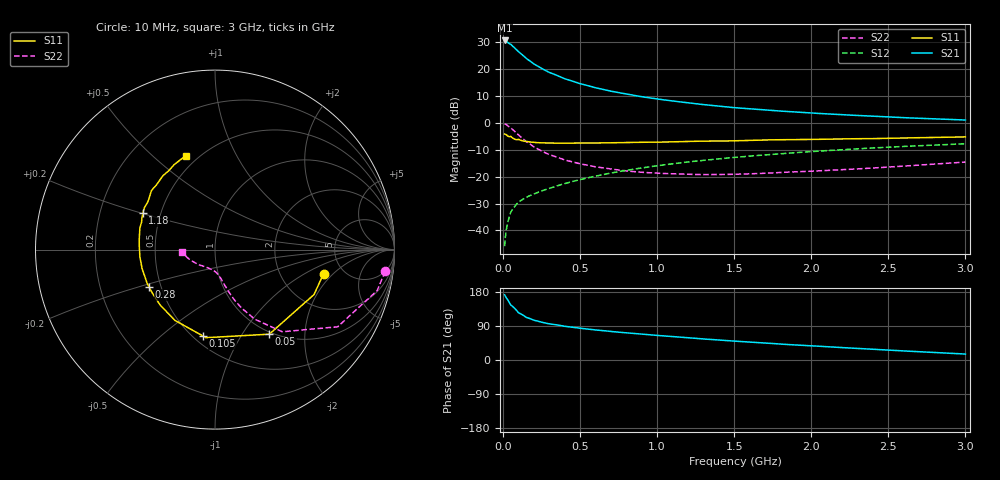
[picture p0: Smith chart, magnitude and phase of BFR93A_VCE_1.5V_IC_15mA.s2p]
! Infineon Technologies  Discrete & RF Semiconductors
! BFR93A
! VCE =  1.5 V,  IC =  15 mA
! Common Emitter S-Parameters:  Nov 2015
# GHz  S  MA  R  50
!  f  S11  S21  S12  S22
! GHz  MAG  ANG  MAG  ANG  MAG  ANG  MAG  ANG
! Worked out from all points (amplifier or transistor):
!   180 points, 10 MHz to 3 GHz, reference 50 ohm
!   highest |S21| = 30.6 dB at 10 MHz (marker M1)
!   |S21| within 3 dB of that: start of sweep to 78.12 MHz
!   unconditionally stable (mu >= 1): 450.9 MHz to end of sweep
!   at 160 MHz: K = 0.64, MSG = 25.5 dB, |S12| = -27.4 dB
!   at 1.22 GHz: K = 1.10, MAG = 9.0 dB, |S12| = -14.4 dB
!   at 3 GHz: K = 1.02, MAG = 3.6 dB, |S12| = -7.8 dB
!   S11 on the Smith chart (normalised r, x): 10 MHz: 3.54, -1.54; 50 MHz: 0.97, -1.33; 105 MHz: 0.56, -0.70; 280 MHz: 0.43, -0.22; 1.18 GHz: 0.40, +0.20; 3 GHz: 0.43, +0.64
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0.01  0.6194 -12.5  33.95 172.0  0.0051 83.9  0.9557 -7.3
0.02  0.606 -24.4  33.08 164.6  0.01 78.5  0.932 -14.2
0.05  0.56 -57.3  28.75 145.2  0.0219 67.4  0.8074 -32.2
0.1  0.4934 -95.8  21.06 124.6  0.0338 57.9  0.5915 -50.7
0.105  0.4859 -97.9  20.5 123.7  0.0345 57.6  0.5766 -51.4
0.15  0.4534 -119.4  15.76 112.6  0.0412 55.6  0.4477 -60.2
0.2  0.4344 -134.9  12.45 105.0  0.0478 56.3  0.3573 -65.6
0.24  0.4256 -143.7  10.65 100.8  0.053 57.4  0.3098 -68.3
0.26  0.4239 -147.4  9.896 98.8  0.0555 57.9  0.2897 -69.5
0.28  0.4225 -150.4  9.264 97.2  0.058 58.5  0.2731 -70.4
0.3  0.4223 -153.4  8.64 95.4  0.0605 59.1  0.2566 -71.4
0.4  0.4198 -165.3  6.592 88.9  0.0742 61.3  0.2037 -75.0
0.52  0.4202 -175.9  5.167 82.9  0.0908 62.7  0.1689 -78.0
0.6  0.4218 178.6  4.487 79.3  0.1022 63.2  0.1521 -80.4
0.7  0.4253 173.4  3.872 75.2  0.1166 63.3  0.1381 -83.5
0.9  0.4357 163.9  3.052 68.3  0.145 62.6  0.1204 -91.2
1.02  0.4379 159.1  2.725 64.3  0.1622 61.5  0.1151 -95.7
1.18  0.4498 153.3  2.391 59.4  0.1846 59.9  0.1108 -103.7
1.52  0.4641 142.6  1.895 49.4  0.2303 56.3  0.1109 -120.3
2.02  0.4921 129.4  1.509 37.0  0.2944 50.1  0.1269 -141.0
2.52  0.5179 117.8  1.278 25.7  0.3551 43.2  0.1517 -158.9
3  0.5478 107.3  1.127 15.7  0.408 36.5  0.1864 -175.9
